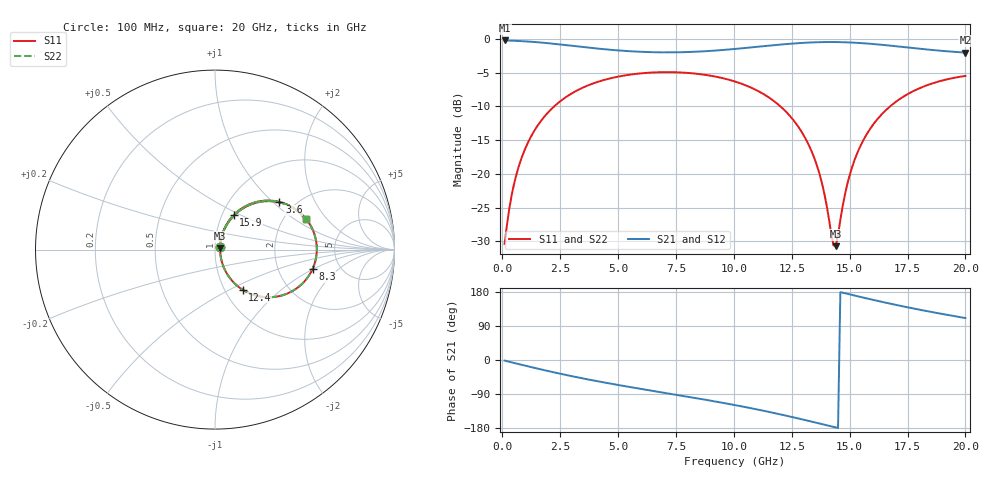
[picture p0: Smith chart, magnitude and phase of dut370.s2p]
! Touchstone file exported from HFSS 2026.1.0
!  File:  C:/ffzhzh/LocalFiles/Ansys_Project_Files/temp_train_TSV_RDL_370_1783040371_51716.aedt
!  Generated:  09:18:20 AM Jul  3, 2026
!  Design:  TSV_RDL
!  Project:  temp_train_TSV_RDL_370_1783040371_51716
! Variables:
!  h_bsmrdl = 4.66um
!  h_ox = 20um
!  h_rdl = 5um
!  h_sub = 90.01um
!  h_tmrdl = 4.04um
!  h_tsv = 90.01um
!  h_via = 3um
!  l_bsmrdl = 109.61um
!  l_sub = 4014.01um
!  l_tmrdl = 786.75um
!  m_sub = 200um
!  pitch = 45.56um
!  r_tsv = 2.7um
!  s_tmrdl = 10um
!  w_bsmrdl = 27.95um
!  w_sub = 500um
!  w_tmrdl = 18.11um
!  x_tsv_center1 = 795.805um
!  x_tsv_center2 = 933.365um
!  x_tsv_center3 = 1738.225um
!  x_tsv_center4 = 1875.785um
!  x_tsv_center5 = 2680.645um
!  x_tsv_center6 = 2818.205um
# GHz S MA R 50.000000
! Terminal data exported
! Port[1] = TM_RDL1_1_T1
! Port[2] = TM_RDL5_1_T1
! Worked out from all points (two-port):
!   200 points, 100 MHz to 20 GHz, reference 50 ohm
!   highest |S21| = -0.22 dB at 100 MHz (marker M1); lowest = -2.0 dB at 20 GHz (marker M2)
!   |S21| within 3 dB of the highest: start of sweep to end of sweep
!   lowest |S11| = -30.7 dB at 14.4 GHz (marker M3), VSWR 1.06, Z = 52.9 + j0.689 ohm
!   |S11| at or under -10 dB: start of sweep to 2.241 GHz; 12.01 GHz to 16.75 GHz (4.739 GHz wide, 33 % of centre)
!   |S22| runs from -30.9 to -4.9 dB; largest |S21 - S12| = 1.8e-14
!   S11 on the Smith chart (normalised r, x): 100 MHz: 1.05, +0.03; 3.6 GHz: 1.67, +1.10; 8.3 GHz: 3.15, -0.98; 12.4 GHz: 1.21, -0.58; 15.9 GHz: 1.13, +0.45; 20 GHz: 2.62, +1.23
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0.1  0.03029 31.4  0.9745 -1.6  0.9745 -1.6  0.03029 31.4
! Gamma 0 0 0 0
! Port Impedance 50 0 50 0
0.3  0.05483 56.3  0.9722 -4.7  0.9722 -4.7  0.05483 56.3
0.5  0.08298 63.1  0.9692 -7.7  0.9692 -7.7  0.08298 63.1
1.2  0.1833 63.2  0.9546 -18.0  0.9546 -18.0  0.1833 63.2
2.2  0.3116 52.6  0.9215 -32.2  0.9215 -32.2  0.3116 52.6
3.5  0.4371 37.5  0.8705 -48.8  0.8705 -48.8  0.4372 37.4
3.6  0.4448 36.3  0.8667 -50.0  0.8667 -50.0  0.4448 36.3
5.2  0.5333 19.2  0.8173 -68.1  0.8173 -68.1  0.5333 19.2
6.8  0.5665 3.4  0.7957 -84.6  0.7957 -84.6  0.5665 3.4
8.3  0.5542 -11.3  0.8032 -99.9  0.8032 -99.9  0.5542 -11.3
10.1  0.4803 -29.8  0.8443 -119.6  0.8443 -119.6  0.4803 -29.8
12.4  0.2712 -55.5  0.9203 -148.9  0.9203 -148.9  0.2712 -55.6
13.4  0.1411 -63.8  0.9429 -163.1  0.9429 -163.1  0.141 -64.0
13.8  0.08599 -61.8  0.9473 -169.0  0.9473 -169.0  0.08589 -62.1
14.3  0.02956 -14.5  0.9485 -176.4  0.9485 -176.4  0.02912 -14.9
14.4  0.02908 12.9  0.9481 -177.9  0.9481 -177.9  0.02861 13.0
15  0.09746 64.8  0.9418 173.2  0.9418 173.2  0.09728 65.0
15.4  0.1518 65.3  0.9339 167.4  0.9339 167.4  0.1517 65.4
15.9  0.2172 61.6  0.9207 160.3  0.9207 160.3  0.2171 61.7
16.7  0.3111 53.3  0.8941 149.3  0.8941 149.3  0.311 53.4
18.2  0.4439 36.8  0.8401 130.6  0.8401 130.6  0.4438 36.9
20  0.5317 18.4  0.7925 110.7  0.7925 110.7  0.5316 18.5
